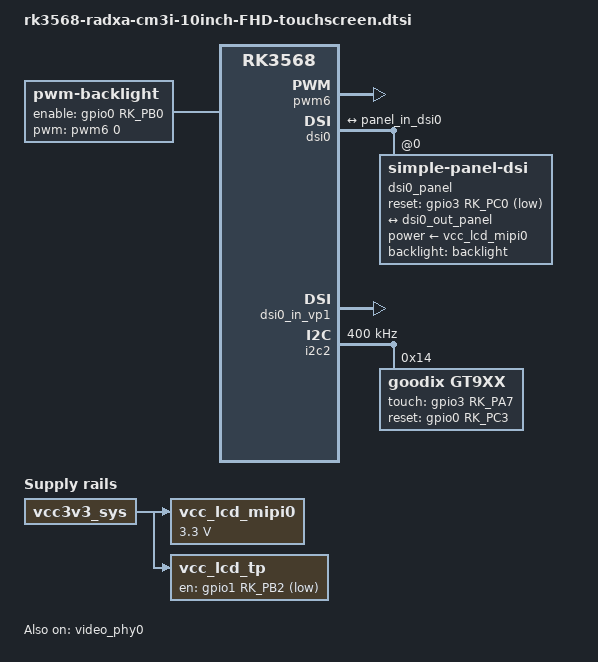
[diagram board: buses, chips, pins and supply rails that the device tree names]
// SPDX-License-Identifier: (GPL-2.0+ OR MIT)
/*
 * Copyright (c) 2022 Radxa Limited.
 *
 */

/ {
	compatible = "rockchip,rk3568-radxa-cm3i", "rockchip,rk3568";

	vcc_lcd_mipi0: vcc-lcd-mipi0 {
		status = "okay";
		compatible = "regulator-fixed";
		regulator-name = "vcc_lcd_mipi0";
		pinctrl-names = "default";
		regulator-min-microvolt = <3300000>;
		regulator-max-microvolt = <3300000>;
		vin-supply = <&vcc3v3_sys>;
	};

	vcc_lcd_tp: vcc-lcd-tp {
		status = "okay";
		compatible = "regulator-fixed";
		regulator-name = "vcc_lcd_tp";
		pinctrl-names = "default";
		pinctrl-0 = <&vcc_tp>;
		enable-active-low;
		gpio = <&gpio1 RK_PB2 GPIO_ACTIVE_LOW>;
		vin-supply = <&vcc3v3_sys>;
		regulator-state-mem {
			regulator-off-in-suspend;
		};
	};

	backlight: backlight {
		status = "okay";
		compatible = "pwm-backlight";
		pwms = <&pwm6 0 25000 1>;
		brightness-levels = <
		0  20  20  21  21  22  22  23
		23  24  24  25  25  26  26  27
		27  28  28  29  29  30  30  31
		31  32  32  33  33  34  34  35
		35  36  36  37  37  38  38  39
		40  41  42  43  44  45  46  47
		48  49  50  51  52  53  54  55
		56  57  58  59  60  61  62  63
		64  65  66  67  68  69  70  71
		72  73  74  75  76  77  78  79
		80  81  82  83  84  85  86  87
		88  89  90  91  92  93  94  95
		96  97  98  99 100 101 102 103
		104 105 106 107 108 109 110 111
		112 113 114 115 116 117 118 119
		120 121 122 123 124 125 126 127
		128 129 130 131 132 133 134 135
		136 137 138 139 140 141 142 143
		144 145 146 147 148 149 150 151
		152 153 154 155 156 157 158 159
		160 161 162 163 164 165 166 167
		168 169 170 171 172 173 174 175
		176 177 178 179 180 181 182 183
		184 185 186 187 188 189 190 191
		192 193 194 195 196 197 198 199
		200 201 202 203 204 205 206 207
		208 209 210 211 212 213 214 215
		216 217 218 219 220 221 222 223
		224 225 226 227 228 229 230 231
		232 233 234 235 236 237 238 239
		240 241 242 243 244 245 246 247
		248 249 250 251 252 253 254 255
		>;
		default-brightness-level = <200>;
		enable-gpios = <&gpio0 RK_PB0 GPIO_ACTIVE_HIGH>;
		pinctrl-names = "default";
		pinctrl-0 = <&backlight_en>;
	};
};

&pwm6 {
	status = "okay";
	pinctrl-names = "active";
	pinctrl-0 = <&pwm6_pins>;
};

&dsi0 {
	status = "okay";
	#address-cells = <1>;
	#size-cells = <0>;
	// rockchip,lane-rate = <480>;
	rockchip,lane-rate = <900>;

	dsi0_panel: panel@0 {
		status = "okay";
		compatible = "simple-panel-dsi";
		reg = <0>;
		backlight = <&backlight>;

		power-supply = <&vcc_lcd_mipi0>;
		reset-gpios = <&gpio3 RK_PC0 GPIO_ACTIVE_LOW>;
		pinctrl-names = "default";
		pinctrl-0 = <&dsi0_lcd_rst_gpio>;

		prepare-delay-ms = <120>;
		reset-delay-ms = <120>;
		init-delay-ms = <120>;
		stbyb-delay-ms = <120>;
		enable-delay-ms = <100>;
		disable-delay-ms = <120>;
		unprepare-delay-ms = <120>;

		width-mm = <135>;
		height-mm = <216>;

		dsi,flags = <(MIPI_DSI_MODE_VIDEO | MIPI_DSI_MODE_VIDEO_BURST |
					MIPI_DSI_MODE_LPM | MIPI_DSI_MODE_EOT_PACKET)>;
		dsi,format = <MIPI_DSI_FMT_RGB888>;
		dsi,lanes  = <4>;



		display_timings0: display-timings {
			native-mode = <&dsi0_timing0>;
			dsi0_timing0: timing0 {
				clock-frequency = <144000000>;
				hactive = <1200>;
				vactive = <1920>;

				vback-porch = <25>;
				vfront-porch = <35>;

				hback-porch = <60>;
				hfront-porch = <80>;

				hsync-len = <4>;
				vsync-len = <4>;

				vsync-active = <0>;
				hsync-active = <0>;
				de-active = <0>;
				pixelclk-active = <0>;
			};
		};

		ports {
			#address-cells = <1>;
			#size-cells = <0>;

		port@0 {
			reg = <0>;
			panel_in_dsi0: endpoint {
				remote-endpoint = <&dsi0_out_panel>;
				};
			};
		};
	};

	ports {
		#address-cells = <1>;
		#size-cells = <0>;

		port@1 {
			reg = <1>;
			dsi0_out_panel: endpoint {
				remote-endpoint = <&panel_in_dsi0>;
			};
		};
	};
};


&video_phy0 {
	status = "okay";
};

// &route_dsi0 {
// 	status = "okay";
// 	connect = <&vp1_out_dsi0>;
// };

&dsi0_in_vp0 {
	status = "disabled";
};

&dsi0_in_vp1 {
	status = "okay";
};

&i2c2 {
	status = "okay";
	pinctrl-names = "default";
	pinctrl-0 = <&i2c2m0_xfer>;
	clock-frequency = <400000>;

	gt9xx: gt9xx@14 {
		status = "okay";
		compatible = "goodix,gt9xx";
		reg = <0x14>;
		pinctrl-names = "default";
		pinctrl-0 = <&gt9xx_gpio>;
		touch-gpio = <&gpio3 RK_PA7 IRQ_TYPE_LEVEL_LOW>;
		reset-gpio = <&gpio0 RK_PC3 GPIO_ACTIVE_HIGH>;
		max-x = <1200>;
		max-y = <1920>;
		tp-size = <9271>;
	};
};

&pinctrl {

	lcd-vcc {
		vcc_tp: vcc-tp {
			rockchip,pins = <1 RK_PB2 RK_FUNC_GPIO &pcfg_pull_none>;
		};
	};

	dsi0-lcd {
		dsi0_lcd_rst_gpio: dsi0-lcd-rst-gpio {
			rockchip,pins = <3 RK_PC0 RK_FUNC_GPIO &pcfg_pull_up>;
		};

		backlight_en: backlight-en {
		 	rockchip,pins = <0 RK_PB0 RK_FUNC_GPIO &pcfg_pull_up>;
		};
	};

	focaltech {
		gt9xx_gpio: gt9xx-gpio {
		    rockchip,pins =
				<3 RK_PA7 RK_FUNC_GPIO &pcfg_pull_none>,
				<0 RK_PC3 RK_FUNC_GPIO &pcfg_pull_up>;
		};
	};
};
